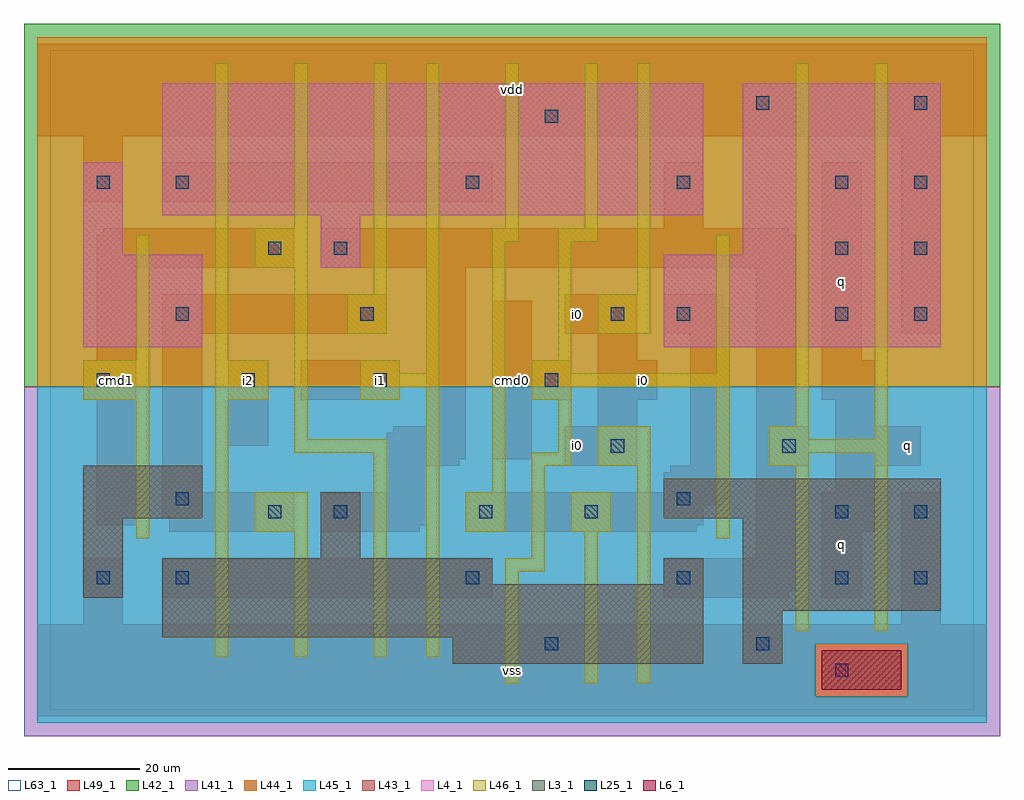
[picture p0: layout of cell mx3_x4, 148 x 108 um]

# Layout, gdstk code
import gdstk
lib = gdstk.Library(unit=1e-6, precision=1e-09)
def R(c, l, rs):  # rectangles x0, y0, x1, y1
    for r in rs: c.add(gdstk.rectangle(r[:2], r[2:], *l))
def A(c, l, x, y, w, h, nx, ny, dx, dy):  # array of equal rectangles
    R(c, l, [(x+i*dx, y+j*dy, x+i*dx+w, y+j*dy+h) for i in range(nx) for j in range(ny)])
L3_1 = (3, 1)
L4_1 = (4, 1)
L6_1 = (6, 1)
L25_1 = (25, 1)
L41_1 = (41, 1)
L42_1 = (42, 1)
L43_1 = (43, 1)
L44_1 = (44, 1)
L45_1 = (45, 1)
L46_1 = (46, 1)
L49_1 = (49, 1)
L63_1 = (63, 1)

mx3_x4 = lib.new_cell('mx3_x4')
R(mx3_x4, L3_1, [(61,7,99,11), (105,7,111,15), (17,11,99,19), (105,15,135,29), (5,17,11,29), (17,19,67,23), (93,19,99,23), (41,23,47,33), (5,29,23,37), (93,29,135,35)])
R(mx3_x4, L4_1, [(5,55,23,69), (93,55,135,69), (41,67,47,75), (5,69,11,83), (105,69,135,95), (17,75,99,95)])
R(mx3_x4, L6_1, [(117,3,129,9)])
A(mx3_x4, L25_1, 75, 9, 2, 2, 1, 3, 0, 40)
A(mx3_x4, L25_1, 7, 19, 2, 2, 1, 3, 0, 30)
A(mx3_x4, L25_1, 119, 59, 2, 2, 1, 3, 0, 10)
A(mx3_x4, L25_1, 131, 59, 2, 2, 1, 3, 0, 10)
R(mx3_x4, L25_1, [(119,5,121,7), (107,9,109,11), (19,19,21,21), (63,19,65,21), (95,19,97,21), (119,19,121,21), (131,19,133,21), (33,29,35,31), (43,29,45,31), (65,29,67,31), (81,29,83,31), (119,29,121,31), (131,29,133,31), (19,31,21,33), (95,31,97,33), (85,39,87,41), (111,39,113,41), (29,49,31,51), (49,49,51,51), (19,59,21,61), (47,59,49,61), (85,59,87,61), (95,59,97,61), (33,69,35,71), (43,69,45,71), (19,79,21,81), (63,79,65,81), (95,79,97,81), (107,91,109,93), (131,91,133,93)])
R(mx3_x4, L41_1, [(-4,-4,144,49)])
R(mx3_x4, L42_1, [(-4,49,144,104)])
R(mx3_x4, L43_1, [(117,3,129,9), (61,7,99,11), (105,7,111,15), (17,11,99,19), (105,15,135,29), (5,17,11,29), (17,19,67,23), (93,19,99,23), (41,23,47,33), (5,29,23,37), (93,29,135,35), (5,55,23,69), (93,55,135,69), (41,67,47,75), (5,69,11,83), (105,69,135,95), (17,75,99,95)])
R(mx3_x4, L44_1, [(116,2,130,10), (-2,49,142,102)])
R(mx3_x4, L45_1, [(-2,-2,142,2), (-2,2,116,10), (130,2,142,10), (-2,10,142,49)])
R(mx3_x4, L46_1, [(69,4,71,21), (81,4,83,27), (89,4,91,37), (25,8,27,47), (37,8,39,27), (49,8,51,39), (57,8,59,49), (113,12,115,37), (125,12,127,39), (69,21,75,23), (73,23,75,37), (13,26,15,47), (101,26,103,49), (31,27,39,33), (63,27,69,33), (79,27,85,33), (67,33,69,71), (73,37,79,39), (83,37,91,43), (109,37,115,39), (37,39,51,41), (77,39,79,47), (109,39,127,41), (37,41,39,67), (109,41,115,43), (125,41,127,98), (113,43,115,98), (5,47,15,53), (25,47,33,53), (47,47,53,49), (73,47,79,49), (47,49,59,51), (73,49,103,51), (47,51,53,53), (57,51,59,98), (73,51,79,53), (101,51,103,72), (13,53,15,72), (25,53,27,98), (77,53,79,71), (45,57,51,63), (83,57,91,63), (49,63,51,98), (89,63,91,98), (31,67,39,73), (67,71,71,73), (77,71,83,73), (37,73,39,98), (69,73,71,98), (81,73,83,98)])
R(mx3_x4, L49_1, [(-2,-1,142,13), (5,13,11,23), (129,13,135,33), (17,17,67,23), (93,17,112,18), (117,17,123,27), (93,18,113,23), (107,23,113,37), (18,27,37,29), (41,27,56,28), (63,27,98,28), (117,27,125,33), (7,28,13,47), (41,28,57,33), (63,28,99,31), (17,29,37,33), (63,31,102,32), (63,32,103,33), (17,33,23,57), (51,33,57,37), (93,33,103,36), (119,33,125,37), (94,36,103,37), (51,37,62,38), (78,37,89,43), (97,37,103,57), (107,37,115,43), (119,37,132,43), (51,38,63,42), (67,38,73,47), (27,40,33,53), (52,42,63,43), (57,43,63,67), (83,43,89,47), (107,43,113,67), (119,43,125,47), (5,47,13,53), (38,47,53,53), (67,47,79,53), (83,47,92,53), (117,47,125,53), (7,53,13,67), (67,53,73,62), (83,53,89,57), (117,53,123,83), (17,57,51,63), (78,57,89,63), (93,57,103,61), (129,57,135,87), (93,61,102,63), (7,67,37,72), (41,67,113,72), (8,72,37,73), (41,72,112,73), (93,73,99,83), (5,77,11,87), (17,77,67,83), (-2,87,142,101)])
R(mx3_x4, L63_1, [(0,0,140,100)])
mx3_x4.add(gdstk.Label('cmd1', (10,50), layer=49, texttype=1))
mx3_x4.add(gdstk.Label('cmd1', (10,50), layer=49, texttype=1))
mx3_x4.add(gdstk.Label('i1', (50,50), layer=49, texttype=1))
mx3_x4.add(gdstk.Label('i2', (30,50), layer=49, texttype=1))
mx3_x4.add(gdstk.Label('i1', (50,50), layer=49, texttype=1))
mx3_x4.add(gdstk.Label('i2', (30,50), layer=49, texttype=1))
mx3_x4.add(gdstk.Label('vss', (70,6), layer=49, texttype=1))
mx3_x4.add(gdstk.Label('vss', (70,6), layer=49, texttype=1))
mx3_x4.add(gdstk.Label('i0', (80,40), layer=49, texttype=1))
mx3_x4.add(gdstk.Label('i0', (80,40), layer=49, texttype=1))
mx3_x4.add(gdstk.Label('cmd0', (70,50), layer=49, texttype=1))
mx3_x4.add(gdstk.Label('cmd0', (70,50), layer=49, texttype=1))
mx3_x4.add(gdstk.Label('i0', (80,60), layer=49, texttype=1))
mx3_x4.add(gdstk.Label('i0', (80,60), layer=49, texttype=1))
mx3_x4.add(gdstk.Label('vdd', (70,94), layer=49, texttype=1))
mx3_x4.add(gdstk.Label('vdd', (70,94), layer=49, texttype=1))
mx3_x4.add(gdstk.Label('i0', (90,50), layer=49, texttype=1))
mx3_x4.add(gdstk.Label('i0', (90,50), layer=49, texttype=1))
mx3_x4.add(gdstk.Label('q', (120,25), layer=49, texttype=1))
mx3_x4.add(gdstk.Label('q', (120,25), layer=49, texttype=1))
mx3_x4.add(gdstk.Label('q', (130,40), layer=49, texttype=1))
mx3_x4.add(gdstk.Label('q', (130,40), layer=49, texttype=1))
mx3_x4.add(gdstk.Label('q', (120,65), layer=49, texttype=1))
mx3_x4.add(gdstk.Label('q', (120,65), layer=49, texttype=1))

lib.write_gds('mx3_x4.gds')
